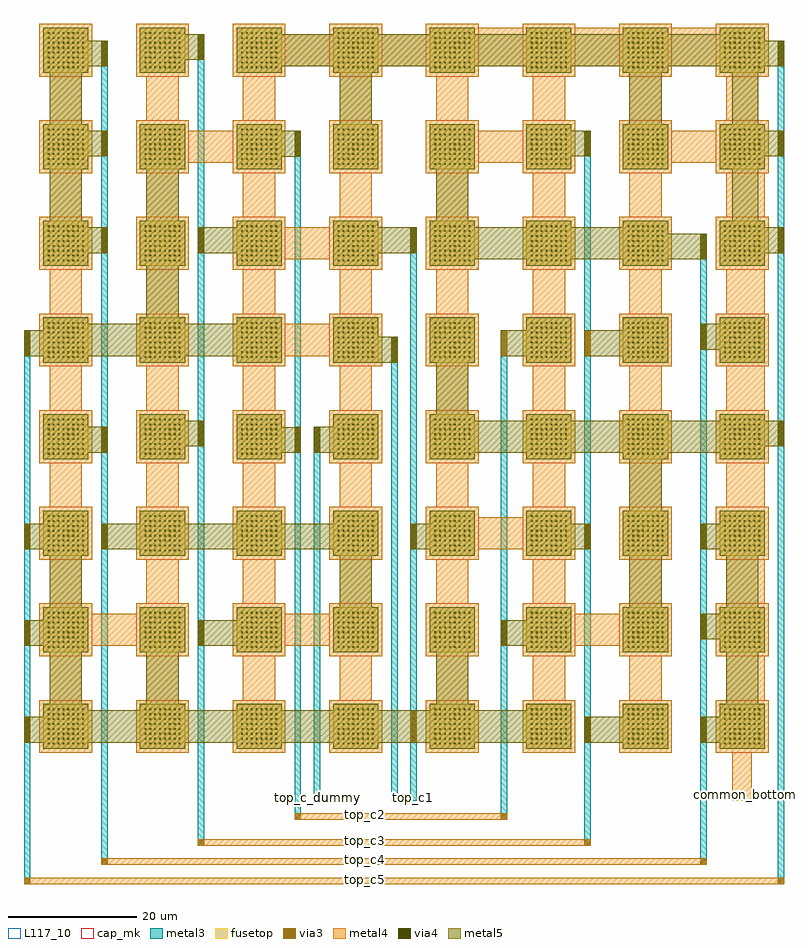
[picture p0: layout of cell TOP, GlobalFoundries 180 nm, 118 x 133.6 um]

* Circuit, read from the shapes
.subckt TOP common_bottom top_c0 top_c1 top_c2 top_c3 top_c4 top_c5 top_c_dummy
XC1 top_c5 common_bottom cap_mim_2f0fF c_width=7u c_length=7u m=32
XC2 top_c4 common_bottom cap_mim_2f0fF c_width=7u c_length=7u m=16
XC3 top_c3 common_bottom cap_mim_2f0fF c_width=7u c_length=7u m=7
XC4 top_c2 common_bottom cap_mim_2f0fF c_width=7u c_length=7u m=3
XC5 top_c_dummy common_bottom cap_mim_2f0fF c_width=7u c_length=7u
XC6 top_c0 common_bottom cap_mim_2f0fF c_width=7u c_length=7u
XC7 top_c1 common_bottom cap_mim_2f0fF c_width=7u c_length=7u m=2
XC8 n1 common_bottom cap_mim_2f0fF c_width=7u c_length=7u
XC9 n2 common_bottom cap_mim_2f0fF c_width=7u c_length=7u
.ends

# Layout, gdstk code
from math import pi, radians
import gdstk
lib = gdstk.Library(unit=1e-6, precision=5e-09)
def R(c, l, rs):  # rectangles x0, y0, x1, y1
    for r in rs: c.add(gdstk.rectangle(r[:2], r[2:], *l))
def A(c, l, x, y, w, h, nx, ny, dx, dy):  # array of equal rectangles
    R(c, l, [(x+i*dx, y+j*dy, x+i*dx+w, y+j*dy+h) for i in range(nx) for j in range(ny)])
via3 = (40, 0)
via4 = (41, 0)
metal3 = (42, 0)
metal4 = (46, 0)
fusetop = (75, 0)
metal5 = (81, 0)
cap_mk = (117, 5)
L117_10 = (117, 10)

cap_mim = lib.new_cell('cap_mim')
A(cap_mim, via4, 0.71, 0.71, 0.26, 0.26, 8, 8, 0.76, 0.76)
R(cap_mim, metal4, [(-0.6,-0.6,7.6,7.6)])
R(cap_mim, fusetop, [(0,0,7,7)])
R(cap_mim, metal5, [(0,0,7,7)])
R(cap_mim, cap_mk, [(-0.6,-0.6,7.6,7.6)])
R(cap_mim, L117_10, [(0,0,7,0.1)])

via_stack_m3m5 = lib.new_cell('via_stack_m3m5')

top = lib.new_cell('TOP')
A(top, via3, -111, -26, 1, 4, 1, 3, 0, 15)
A(top, via3, -24, -26, 1, 4, 1, 3, 0, 30)
A(top, via3, -84, 20, 1, 4, 1, 3, 0, 30)
R(top, via3, [(-111,-48,-110,-47), (6,-48,7,-47), (-99,-45,-98,-44), (-6,-45,-5,-44), (-84,-42,-83,-41), (-24,-42,-23,-41), (-69,-38,-68,-37), (-37,-38,-36,-37), (-51,-26,-50,-21), (-6,-26,-5,-22), (-6,-26,-5,-22), (-84,-11,-83,-7), (-37,-11,-36,-7), (-6,-10,-5,-6), (-99,4,-98,8), (-99,4,-98,8), (-99,4,-98,8), (-99,4,-98,8), (-51,4,-50,8), (-6,4,-5,8), (-99,19,-98,23), (-99,19,-98,23), (-99,19,-98,23), (-99,19,-98,23), (-69,19,-68,23), (-66,19,-65,23), (6,20,7,24), (-54,33,-53,37), (-111,34,-110,38), (-37,34,-36,38), (-6,35,-5,39), (-6,49,-5,53), (-99,50,-98,54), (-99,50,-98,54), (-99,50,-98,54), (-99,50,-98,54), (-51,50,-50,54), (6,50,7,54), (-99,65,-98,69), (-99,65,-98,69), (-69,65,-68,69), (-24,65,-23,69), (6,65,7,69), (-99,79,-98,83), (-99,79,-98,83), (6,79,7,83)])
A(top, via4, -111, -26, 1, 4, 1, 3, 0, 15)
A(top, via4, -84, 20, 1, 4, 1, 3, 0, 30)
R(top, via4, [(-24,-26,-23,-22), (-6,-26,-5,-22), (-84,-11,-83,-7), (-37,-11,-36,-7), (-6,-10,-5,-6), (-99,4,-98,8), (-99,4,-98,8), (-99,4,-98,8), (-99,4,-98,8), (-51,4,-50,8), (-24,4,-23,8), (-6,4,-5,8), (-99,19,-98,23), (-99,19,-98,23), (-99,19,-98,23), (-99,19,-98,23), (-69,19,-68,23), (-66,19,-65,23), (6,20,7,24), (-54,33,-53,37), (-111,34,-110,38), (-6,35,-5,39), (-6,49,-5,53), (-99,50,-98,54), (-99,50,-98,54), (-99,50,-98,54), (-99,50,-98,54), (-51,50,-50,54), (6,50,7,54), (-99,65,-98,69), (-99,65,-98,69), (-69,65,-68,69), (-24,65,-23,69), (6,65,7,69), (-99,79,-98,83), (-99,79,-98,83), (6,79,7,83)])
A(top, metal3, -111, -26, 1, 4, 1, 3, 0, 15)
A(top, metal3, -84, 20, 1, 4, 1, 3, 0, 30)
R(top, metal3, [(-111,-48,-110,-46), (6,-48,7,-45), (-111,-47,-110,-35), (6,-47,7,83), (-99,-45,-98,-33), (-6,-45,-5,-22), (-84,-42,-83,-35), (-24,-42,-23,-33), (-69,-38,-68,-35), (-37,-38,-36,38), (-111,-35,-110,38), (-99,-35,-98,8), (-84,-35,-83,-7), (-69,-35,-68,22.965), (-66,-35,-65,23), (-54,-35,-53,37), (-51,-35,-50,54), (-24,-35,-23,69), (-24,-26,-23,-22), (-6,-26,-5,-22), (-6,-26,-5,8), (-84,-11,-83,-7), (-84,-11,-83,84), (-37,-11,-36,-7), (-6,-10,-5,-6), (-99,4,-98,8), (-99,4,-98,8), (-99,4,-98,8), (-99,4,-98,8), (-99,4,-98,23), (-51,4,-50,8), (-24,4,-23,8), (-6,4,-5,8), (-6,4,-5,53), (-99,19,-98,23), (-99,19,-98,23), (-99,19,-98,23), (-99,19,-98,23), (-99,19,-98,54), (-69,19,-68,23), (-69,19,-68,69), (-66,19,-65,23), (6,20,7,24), (-54,33,-53,37), (-111,34,-110,38), (-37,34,-36,38), (-6,35,-5,39), (-6,49,-5,53), (-99,50,-98,54), (-99,50,-98,54), (-99,50,-98,54), (-99,50,-98,54), (-99,50,-98,83), (-51,50,-50,54), (6,50,7,54), (-99,65,-98,69), (-99,65,-98,69), (-69,65,-68,69), (6,65,7,69), (-99,79,-98,83), (-99,79,-98,83), (6,79,7,83)])
A(top, metal4, -111, -26, 1, 4, 1, 3, 0, 15)
A(top, metal4, -24, -26, 1, 4, 1, 3, 0, 30)
A(top, metal4, -107, -19.4, 5, 6.8, 7, 6, 15, 15)
A(top, metal4, -2, -19.4, 6, 6.8, 1, 6, 0, 15)
A(top, metal4, -84, 20, 1, 4, 1, 3, 0, 30)
A(top, metal4, -107, 70.6, 5, 6.8, 8, 1, 15, 0)
A(top, metal4, -40.4, 79, 6.8, 6, 3, 1, 15, 0)
R(top, metal4, [(-111,-48,7,-47), (-99,-45,-5,-44), (-84,-42,-23,-41), (-69,-38,-36,-37), (-1,-35,2,-27.6), (-6,-26,-5,-22), (-100.4,-11,-93.6,-6), (-84,-11,-83,-7), (-70.4,-11,-63.6,-6), (-37,-11,-36,-7), (-25.4,-11,-18.6,-6), (-6,-10,-5,-6), (-99,4,-98,8), (-99,4,-98,8), (-99,4,-98,8), (-99,4,-98,8), (-51,4,-50,8), (-40.4,4,-33.6,9), (-6,4,-5,8), (-99,19,-98,23), (-99,19,-98,23), (-99,19,-98,23), (-99,19,-98,23), (-69,19,-68,23), (-66,19,-65,23), (6,20,7,24), (-54,33,-53,37), (-111,34,-110,38), (-70.4,34,-63.6,39), (-37,34,-36,38), (-6,35,-5,39), (-70.4,49,-63.6,54), (-6,49,-5,53), (-99,50,-98,54), (-99,50,-98,54), (-99,50,-98,54), (-99,50,-98,54), (-51,50,-50,54), (6,50,7,54), (-85.4,64,-78.6,69), (-40.4,64,-33.6,69), (-10.4,64,-3.6,69), (-99,65,-98,69), (-99,65,-98,69), (-69,65,-68,69), (-24,65,-23,69), (6,65,7,69), (-99,79,-98,83), (-99,79,-98,83), (-70.4,79,-63.6,84), (-55.4,79,-48.6,84), (6,79,7,83)])
A(top, metal5, -111, -26, 3, 4, 1, 3, 0, 15)
A(top, metal5, -101, -26, 8, 5, 5, 1, 15, 0)
A(top, metal5, -92, -20, 5, 8, 3, 1, 45, 0)
A(top, metal5, -107, -5, 5, 8, 3, 2, 45, 75)
A(top, metal5, -41, 19, 8, 5, 3, 1, 15, 0)
A(top, metal5, -71, 79, 8, 5, 5, 1, 15, 0)
R(top, metal5, [(-24,-26,-18,-22), (-6,-26,-3,-22), (-107,-20,-102,-12), (-84,-11,-78,-7), (-37,-11,-33,-7), (-6,-10,-3,-6), (-2,-5,3,3), (-99,4,-93,8), (-86,4,-78,8), (-71,4,-63,8), (-51,4,-48,8), (-26,4,-23,8), (-6,4,-3,8), (-17,10,-12,18), (-66,18.985,-62.76,23), (-101,19,-98,23), (-101,19,-98,23), (-71.265,19,-68,22.965), (-86,20,-83,24), (4,20,7,24), (-47,25,-42,33), (-56,33,-53,37), (-111,34,-108,38), (-101,34,-93,39), (-86,34,-78,39), (-37,34,-33,38), (-24,34,-18,38), (-6,35,-3,39), (-92,40,-87,48), (-41,49,-33,54), (-26,49,-18,54), (-11,49,-5,53), (-101,50,-98,54), (-101,50,-98,54), (-84,50,-78,54), (-56,50,-50,54), (4,50,7,54), (-107,55,-102,63), (-92,55,-87,63), (-47,55,-42,63), (-1,55,3,63), (-71.225,64.99,-68,68.985), (-101,65,-98,69), (-26,65,-23,69), (4,65,7,69), (-1,70,3,78), (-101,79,-98,83), (4,79,7,83), (-86,80,-83,84)])
r = gdstk.Reference(cap_mim, (4,85), rotation=pi); r.repetition = gdstk.Repetition(8, 8, v1=(-15,0), v2=(0,-15)); top.add(r)
top.add(gdstk.Reference(via_stack_m3m5, (-90,90)))
top.add(gdstk.Reference(via_stack_m3m5, (-79,94), rotation=pi))
top.add(gdstk.Reference(via_stack_m3m5, (-23,69), rotation=pi))
top.add(gdstk.Reference(via_stack_m3m5, (-22,38), rotation=pi))
top.add(gdstk.Reference(via_stack_m3m5, (-79,155), rotation=pi))
top.add(gdstk.Reference(via_stack_m3m5, (-78,124), rotation=pi))
top.add(gdstk.Reference(via_stack_m3m5, (-79,64), rotation=pi))
top.add(gdstk.Reference(via_stack_m3m5, (-21,-15), rotation=pi))
top.add(gdstk.Reference(via_stack_m3m5, (24,24), rotation=pi))
top.add(gdstk.Label('common_bottom', (1,-34), layer=46, texttype=10))
top.add(gdstk.Label('top_c2', (-58,-37.1), layer=46, texttype=10))
top.add(gdstk.Label('top_c3', (-58,-41.25), layer=46, texttype=10))
top.add(gdstk.Label('top_c4', (-58,-44.2), layer=46, texttype=10))
top.add(gdstk.Label('top_c5', (-58,-47.3), layer=46, texttype=10))
top.add(gdstk.Label('top_c_dummy', (-65.5,-34.5), layer=42, texttype=10))
top.add(gdstk.Label('top_c1', (-50.5,-34.5), layer=42, texttype=10))
top.add(gdstk.Label('top_c0', (-53.5,-34.5), layer=42, texttype=10))

lib.write_gds('TOP.gds')
